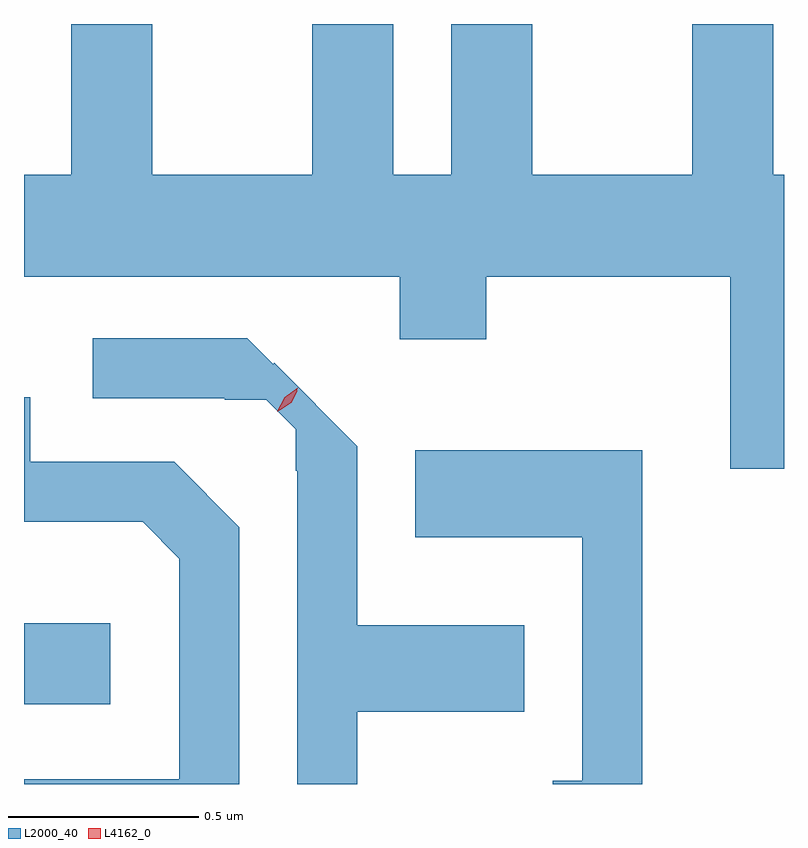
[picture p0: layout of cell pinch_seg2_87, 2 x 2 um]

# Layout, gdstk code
import gdstk
lib = gdstk.Library(unit=1e-6, precision=1e-09)
def R(c, l, rs):  # rectangles x0, y0, x1, y1
    for r in rs: c.add(gdstk.rectangle(r[:2], r[2:], *l))
def P(c, l, *ps):  # polygons
    for p in ps: c.add(gdstk.Polygon(p, *l))
L2000_40 = (2000, 40)
L4162_0 = (4162, 0)

pinch_seg2_87 = lib.new_cell('pinch_seg2_87')
R(pinch_seg2_87, L2000_40, [(1136.072,987.251,1136.299,987.464)])
P(pinch_seg2_87, L2000_40, [(1138.072,988.644),(1138.044,988.644),(1138.044,989.041),(1137.831,989.041),(1137.831,988.644),(1137.409,988.644),(1137.409,989.041),(1137.196,989.041),(1137.196,988.644),(1137.044,988.644),(1137.044,989.041),(1136.831,989.041),(1136.831,988.644),(1136.409,988.644),(1136.409,989.041),(1136.196,989.041),(1136.196,988.644),(1136.072,988.644),(1136.072,988.376),(1137.061,988.376),(1137.061,988.211),(1137.289,988.211),(1137.289,988.376),(1137.931,988.376),(1137.931,987.871),(1138.072,987.871)],
  [(1136.949,987.231),(1137.389,987.231),(1137.389,987.459),(1136.949,987.459),(1136.949,987.93),(1136.73,988.149),(1136.728,988.146),(1136.66,988.214),(1136.253,988.214),(1136.253,988.056),(1136.6,988.056),(1136.6,988.052),(1136.709,988.052),(1136.787,987.974),(1136.787,987.865),(1136.791,987.865),(1136.791,987.041),(1136.949,987.041)],
  [(1136.639,987.717),(1136.467,987.889),(1136.089,987.889),(1136.089,988.059),(1136.072,988.059),(1136.072,987.731),(1136.384,987.731),(1136.481,987.634),(1136.481,987.054),(1136.072,987.054),(1136.072,987.041),(1136.639,987.041)],
  [(1137.699,987.919),(1137.101,987.919),(1137.101,987.691),(1137.541,987.691),(1137.541,987.049),(1137.463,987.049),(1137.463,987.041),(1137.699,987.041)])
P(pinch_seg2_87, L4162_0, [(1136.738,988.021),(1136.738,988.022),(1136.758,988.059),(1136.792,988.084),(1136.793,988.084),(1136.793,988.083),(1136.773,988.046),(1136.739,988.021)],
  [(1136.744,988.025),(1136.744,988.025),(1136.76,988.057),(1136.79,988.076),(1136.791,988.076),(1136.791,988.075),(1136.775,988.044),(1136.745,988.025)])

lib.write_gds('pinch_seg2_87.gds')
